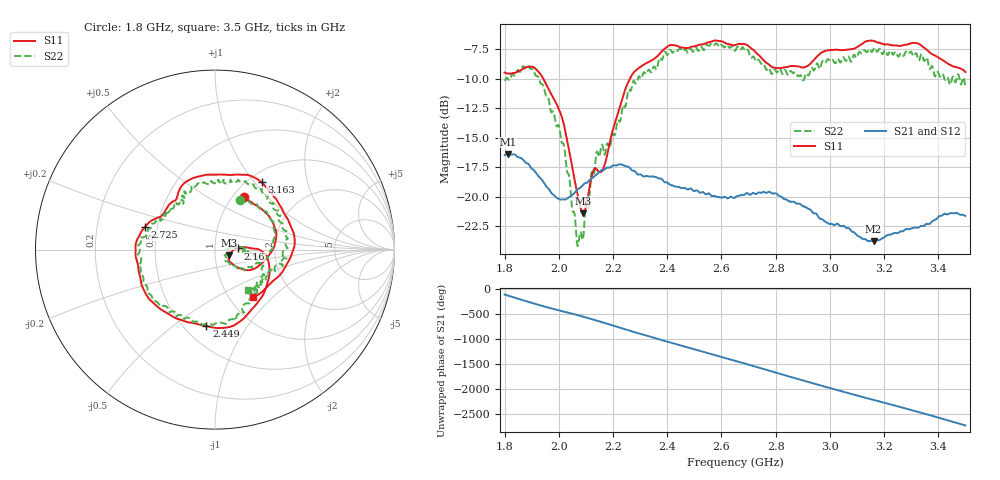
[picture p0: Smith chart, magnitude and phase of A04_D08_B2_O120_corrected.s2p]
! Created with skrf 1.9.0 (http://scikit-rf.org).
# Hz S RI R 50.0
!freq ReS11 ImS11 ReS21 ImS21 ReS12 ImS12 ReS22 ImS22
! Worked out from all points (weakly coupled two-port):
!   1601 points, 1.8 GHz to 3.5 GHz, reference 50 ohm
!   highest |S21| = -16.37 dB at 1.812 GHz (marker M1); lowest = -23.8 dB at 3.161 GHz (marker M2)
!   lowest |S11| = -21.4 dB at 2.09 GHz (marker M3), VSWR 1.19, Z = 58.4 - j3.8 ohm
!   |S11| at or under -10 dB: 1.943 GHz to 2.262 GHz (319.4 MHz wide, 15.2 % of centre)
!   |S22| runs from -24.2 to -7.0 dB; largest |S21 - S12| = 0.0031
!   S11 on the Smith chart (normalised r, x): 1.8 GHz: 1.13, +0.75; 2.16 GHz: 1.30, +0.02; 2.449 GHz: 0.64, -0.67; 2.725 GHz: 0.43, +0.13; 3.163 GHz: 1.15, +1.09; 3.5 GHz: 1.28, -0.76
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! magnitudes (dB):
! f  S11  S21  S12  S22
! 1.8 GHz  -9.5  -16.5  -16.5  -10.2
! 1.812 GHz  -9.6  -16.4  -16.4  -10.0
! 1.887 GHz  -9.0  -17.2  -17.3  -8.9
! 1.941 GHz  -9.9  -18.7  -18.7  -10.5
! 2.013 GHz  -13.4  -20.2  -20.2  -15.5
! 2.067 GHz  -19.5  -19.4  -19.5  -23.8
! 2.084 GHz  -21.2  -19.1  -19.1  -23.3
! 2.09 GHz  -21.4  -19.0  -19.0  -23.4
! 2.128 GHz  -17.7  -18.3  -18.3  -18.2
! 2.16 GHz  -17.8  -17.7  -17.7  -15.6
! 2.26 GHz  -10.1  -17.5  -17.5  -10.9
! 2.367 GHz  -8.0  -18.4  -18.4  -8.6
! 2.449 GHz  -7.4  -19.2  -19.2  -7.5
! 2.65 GHz  -7.2  -20.1  -20.0  -7.7
! 2.725 GHz  -7.7  -19.7  -19.8  -8.5
! 2.798 GHz  -9.1  -19.7  -19.7  -9.2
! 2.934 GHz  -8.6  -21.2  -21.2  -9.1
! 3.161 GHz  -6.8  -23.8  -23.7  -7.5
! 3.163 GHz  -6.8  -23.8  -23.7  -7.4
! 3.217 GHz  -7.1  -23.2  -23.2  -7.9
! 3.325 GHz  -7.0  -22.6  -22.6  -8.3
! 3.5 GHz  -9.4  -21.6  -21.6  -10.8
